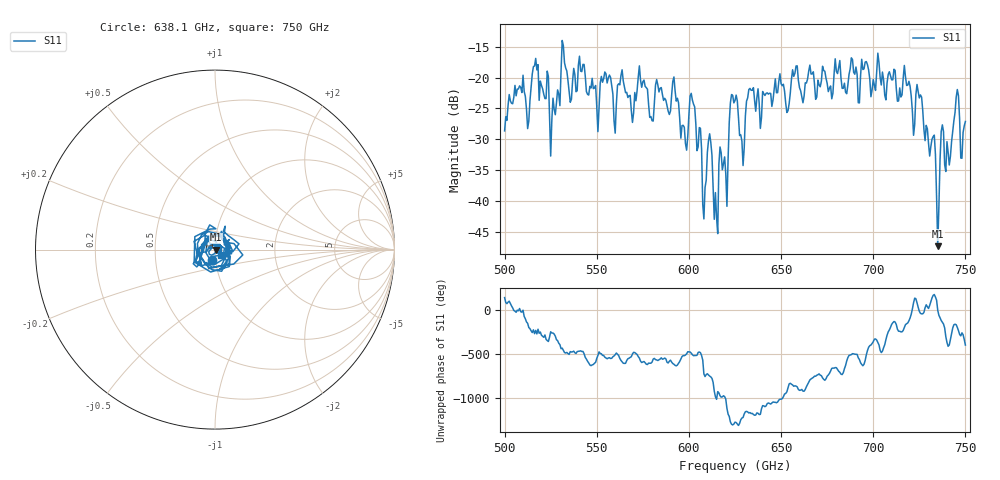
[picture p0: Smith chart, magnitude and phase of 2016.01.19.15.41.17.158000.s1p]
!Created with skrf (http://scikit-rf.org).
# GHz S RI R 50.0
!freq ReS11 ImS11
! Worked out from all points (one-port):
!   401 points, 500 GHz to 750 GHz, reference 50 ohm
!   lowest |S11| = -47.4 dB at 735 GHz (marker M1), VSWR 1.01, Z = 50.4 - j0.0535 ohm
!   |S11| at or under -10 dB: start of sweep to end of sweep
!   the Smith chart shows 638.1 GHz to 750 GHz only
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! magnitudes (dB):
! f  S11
! 500 GHz  -28.6
! 508.8 GHz  -21.6
! 513.1 GHz  -27.1
! 516.9 GHz  -16.9
! 526.2 GHz  -23.3
! 531.2 GHz  -14.0
! 550 GHz  -24.7
! 562.5 GHz  -21.2
! 579.4 GHz  -26.3
! 593.8 GHz  -23.4
! 598.1 GHz  -30.7
! 601.9 GHz  -23.7
! 608.1 GHz  -42.9
! 611.2 GHz  -29.1
! 614.4 GHz  -38.7
! 625 GHz  -23.7
! 628.8 GHz  -30.3
! 633.8 GHz  -22.1
! 653.8 GHz  -25.4
! 656.2 GHz  -18.7
! 687.5 GHz  -18.6
! 718.8 GHz  -21.2
! 732.5 GHz  -29.6
! 735 GHz  -47.4
! 737.5 GHz  -27.7
! 740.6 GHz  -32.1
! 745 GHz  -23.2
! 750 GHz  -27.1
